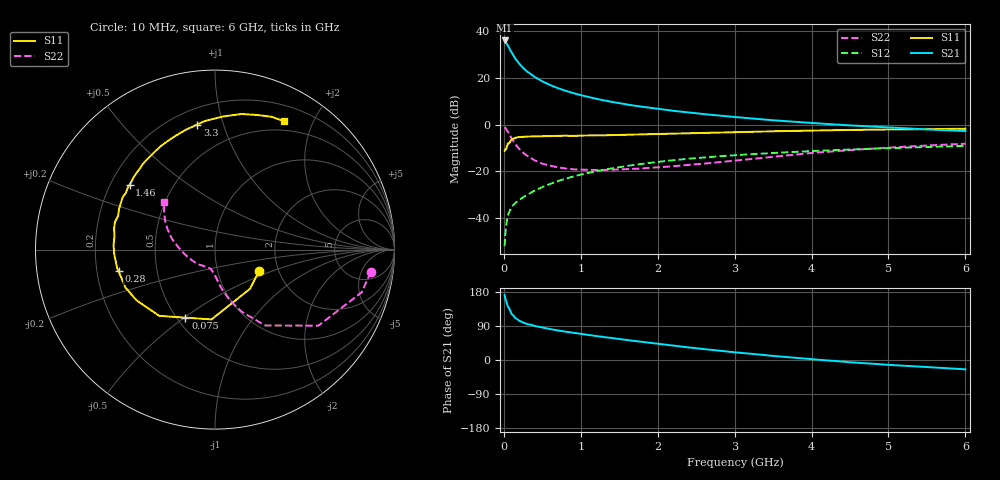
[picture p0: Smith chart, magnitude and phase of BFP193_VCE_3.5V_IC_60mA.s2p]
! Infineon Technologies  Discrete & RF Semiconductors
! BFP193
! VCE = 3.5 V,  IC =  60 mA
! Common Emitter S-Parameters:  Jan 2016
# GHz  S  MA  R  50
!  f  S11  S21  S12  S22
! GHz  MAG  ANG  MAG  ANG  MAG  ANG  MAG  ANG
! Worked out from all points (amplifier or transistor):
!   210 points, 10 MHz to 6 GHz, reference 50 ohm
!   highest |S21| = 36.0 dB at 10 MHz (marker M1)
!   |S21| within 3 dB of that: start of sweep to 66.08 MHz
!   unconditionally stable (mu >= 1): 468 MHz to 3.928 GHz
!   at 185 MHz: K = 0.73, MSG = 29.7 dB, |S12| = -32.7 dB
!   at 1.52 GHz: K = 1.08, MAG = 11.9 dB, |S12| = -18.1 dB
!   at 6 GHz: K = 0.94, MSG = 3.2 dB, |S12| = -9.1 dB
!   S11 on the Smith chart (normalised r, x): 10 MHz: 1.59, -0.41; 75 MHz: 0.55, -0.51; 280 MHz: 0.29, -0.10; 1.46 GHz: 0.28, +0.31; 3.3 GHz: 0.30, +0.82; 6 GHz: 0.38, +1.61
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0.01  0.2737 -26.0  63.03 171.3  0.0025 77.1  0.8767 -8.2
0.02  0.2926 -48.3  59.97 162.0  0.0047 72.8  0.8512 -16.2
0.05  0.3894 -92.8  50 141.9  0.011 65.6  0.7154 -36.3
0.075  0.4134 -113.5  41.82 133.6  0.0141 61.0  0.6021 -44.7
0.1  0.4826 -130.1  34.91 121.7  0.0172 58.0  0.5071 -56.5
0.15  0.5207 -147.2  25.57 110.4  0.0211 56.6  0.3771 -66.7
0.2  0.5418 -157.0  20.05 103.6  0.0242 57.7  0.301 -73.1
0.24  0.5442 -163.0  17.01 99.9  0.027 58.9  0.2587 -76.5
0.28  0.5507 -167.3  14.73 96.7  0.0297 60.6  0.2289 -79.4
0.3  0.5547 -169.1  13.72 95.2  0.0311 61.4  0.2162 -80.8
0.4  0.5618 -177.3  10.45 90.0  0.0386 63.6  0.1715 -85.7
0.5  0.5658 177.5  8.389 85.6  0.0459 65.0  0.1459 -89.6
0.6  0.565 172.8  7.017 81.6  0.0535 65.3  0.1317 -93.1
0.7  0.5745 168.0  6.037 77.9  0.0614 65.8  0.1218 -96.5
1.02  0.5818 156.2  4.181 68.4  0.0865 63.9  0.1081 -105.9
1.46  0.5974 142.7  2.948 56.5  0.1199 59.6  0.1093 -119.4
2.02  0.6288 127.2  2.145 42.5  0.1601 52.4  0.122 -138.3
3.1  0.6917 101.9  1.406 18.5  0.2262 38.2  0.175 -173.4
3.3  0.7039 98.1  1.317 14.8  0.2365 35.7  0.1887 -178.8
4.1  0.7482 84.7  1.055 0.5  0.2758 25.9  0.2538 164.1
5.1  0.7882 71.7  0.851 -13.9  0.3158 14.8  0.3278 148.4
6  0.8129 61.8  0.728 -24.6  0.3496 5.0  0.3887 136.6
